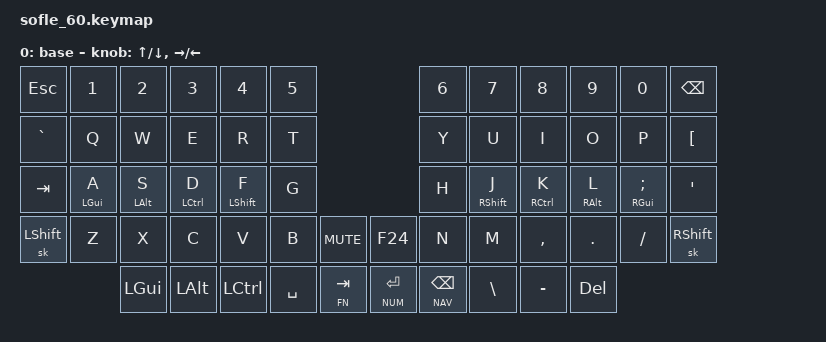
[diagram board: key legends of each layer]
#include <behaviors.dtsi>
#include <dt-bindings/zmk/bt.h>
#include <dt-bindings/zmk/keys.h>
#include <dt-bindings/zmk/ext_power.h>
#include <dt-bindings/zmk/rgb.h>
#include <dt-bindings/zmk/outputs.h>

#include "layers/sofle/names.h"
#include "layouts/sofle.h"
#include "settings/timings.h"

#include "settings/overrides.dtsi"
#include "settings/sofle.dtsi"

#include "custom/hrm.dtsi"
#include "custom/mod_morphs.dtsi"
#include "custom/combos.dtsi"

/ {
    keymap {
        compatible = "zmk,keymap";

        base {
            display-name = "base";
            bindings = <
&kp ESC        &kp N1         &kp N2        &kp N3        &kp N4         &kp N5                                    &kp N6       &kp N7         &kp N8        &kp N9        &kp N0            &kp BSPC
&kp GRAVE      &kp Q          &kp W         &kp E         &kp R          &kp T                                     &kp Y        &kp U          &kp I         &kp O         &kp P             &kp LBKT
&kp TAB        &hml LGUI A    &hml LALT S   &hml LCTRL D  &hml LSHFT F   &kp G                                     &kp H        &hmr RSHFT J   &hmr RCTRL K  &hmr RALT L   &hmr RGUI SEMI    &kp SQT
&sk LSHFT      &kp Z          &kp X         &kp C         &kp V          &kp B        &kp C_MUTE     &kp F24       &kp N        &kp M          &kp COMMA     &kp DOT       &kp FSLH          &sk RSHFT 
                              &kp LGUI      &kp LALT      &kp LCTRL      &kp SPACE    &lt FN TAB     &lt NUM RET   &lt NAV BSPC &kp BSLH       &kp MINUS     &kp DEL  
            >;

            sensor-bindings = <&inc_dec_kp UP DOWN &inc_dec_kp RIGHT LEFT >;
        };
    };
};

#include "layers/sofle/hub.dtsi"
#include "layers/sofle/num.dtsi"
#include "layers/sofle/nav.dtsi"
#include "layers/sofle/uni.dtsi"
#include "layers/sofle/fn.dtsi"
#include "layers/sofle/sys.dtsi"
